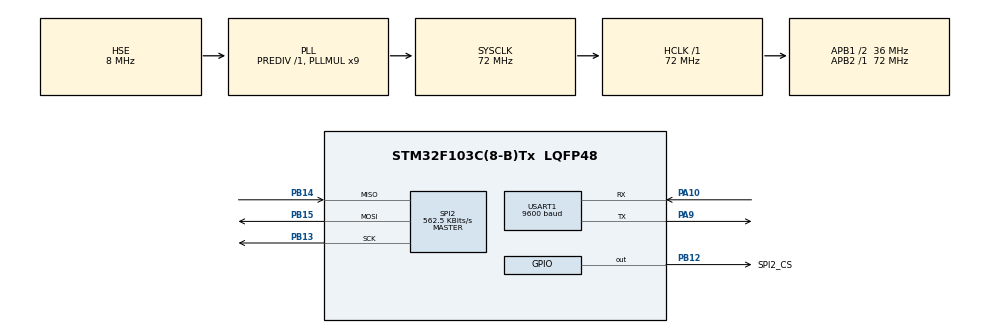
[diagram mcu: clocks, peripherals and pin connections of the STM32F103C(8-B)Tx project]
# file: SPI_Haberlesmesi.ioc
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Mcu.Family=STM32F1
Mcu.Name=STM32F103C(8-B)Tx
Mcu.Package=LQFP48
NVIC.PriorityGroup=NVIC_PRIORITYGROUP_4
PA10.Mode=Asynchronous
PA10.Signal=USART1_RX
PA13.Mode=Serial_Wire
PA13.Signal=SYS_JTMS-SWDIO
PA14.Mode=Serial_Wire
PA14.Signal=SYS_JTCK-SWCLK
PA9.Mode=Asynchronous
PA9.Signal=USART1_TX
PB12.GPIO_Label=SPI2_CS
PB12.Signal=GPIO_Output
PB13.Mode=Full_Duplex_Master
PB13.Signal=SPI2_SCK
PB14.Mode=Full_Duplex_Master
PB14.Signal=SPI2_MISO
PB15.Mode=Full_Duplex_Master
PB15.Signal=SPI2_MOSI
PD0-OSC_IN.Mode=HSE-External-Oscillator
PD0-OSC_IN.Signal=RCC_OSC_IN
PD1-OSC_OUT.Mode=HSE-External-Oscillator
PD1-OSC_OUT.Signal=RCC_OSC_OUT
ProjectManager.HeapSize=0x200
ProjectManager.StackSize=0x400
ProjectManager.TargetToolchain=STM32CubeIDE
RCC.AHBFreq_Value=72000000
RCC.APB1CLKDivider=RCC_HCLK_DIV2
RCC.APB1Freq_Value=36000000
RCC.APB1TimFreq_Value=72000000
RCC.APB2Freq_Value=72000000
RCC.APB2TimFreq_Value=72000000
RCC.HCLKFreq_Value=72000000
RCC.PLLMUL=RCC_PLL_MUL9
RCC.PLLSourceVirtual=RCC_PLLSOURCE_HSE
RCC.SYSCLKFreq_VALUE=72000000
RCC.SYSCLKSource=RCC_SYSCLKSOURCE_PLLCLK
RCC.USBFreq_Value=72000000
SPI2.BaudRatePrescaler=SPI_BAUDRATEPRESCALER_64
SPI2.CLKPolarity=SPI_POLARITY_HIGH
SPI2.CalculateBaudRate=562.5 KBits/s
SPI2.Direction=SPI_DIRECTION_2LINES
SPI2.Mode=SPI_MODE_MASTER
SPI2.VirtualType=VM_MASTER
USART1.BaudRate=9600
USART1.VirtualMode=VM_ASYNC
board=custom

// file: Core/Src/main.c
/* USER CODE BEGIN Header */
/**
  ******************************************************************************
  * @file           : main.c
  * @brief          : Main program body
  ******************************************************************************
  * @attention
  *
  * <h2><center>&copy; Copyright (c) 2022 STMicroelectronics.
  * All rights reserved.</center></h2>
  *
  * This software component is licensed by ST under BSD 3-Clause license,
  * the "License"; You may not use this file except in compliance with the
  * License. You may obtain a copy of the License at:
  *                        opensource.org/licenses/BSD-3-Clause
  *
  ******************************************************************************
  */
/* USER CODE END Header */
#include "main.h"

/* USER CODE BEGIN Includes */
#include "string.h"
/* USER CODE END Includes */

SPI_HandleTypeDef hspi2;

UART_HandleTypeDef huart1;

void SystemClock_Config(void);
static void MX_GPIO_Init(void);
static void MX_SPI2_Init(void);
static void MX_USART1_UART_Init(void);
/* USER CODE BEGIN PFP */
uint8_t uartTxBuffer[] = "SPI Haberlesmesi";
uint8_t aTxBuffer[]="Deneme Gonderimi";
uint8_t aRxBuffer[40];

/* USER CODE END PFP */

int main(void)
{

  /* MCU Configuration--------------------------------------------------------*/

  /* Reset of all peripherals, Initializes the Flash interface and the Systick. */
  HAL_Init();

  /* Configure the system clock */
  SystemClock_Config();

  /* Initialize all configured peripherals */
  MX_GPIO_Init();
  MX_SPI2_Init();
  MX_USART1_UART_Init();
  /* USER CODE BEGIN 2 */
  if(HAL_UART_Transmit(&huart1, (uint8_t*)uartTxBuffer, 40, 100)!= HAL_OK)
  {
    Error_Handler();
  }

  __HAL_SPI_ENABLE(&hspi2);

  if(HAL_SPI_TransmitReceive(&hspi2, (uint8_t*)aTxBuffer, (uint8_t *)aRxBuffer, 40,100) != HAL_OK)
    {
      Error_Handler();
    }

    while (HAL_SPI_GetState(&hspi2) != HAL_SPI_STATE_READY);
  /* USER CODE END 2 */

  /* Infinite loop */
  while (1)
  {

  }
}

void SystemClock_Config(void)
{
  RCC_OscInitTypeDef RCC_OscInitStruct = {0};
  RCC_ClkInitTypeDef RCC_ClkInitStruct = {0};

  /** Initializes the RCC Oscillators according to the specified parameters
  * in the RCC_OscInitTypeDef structure.
  */
  RCC_OscInitStruct.OscillatorType = RCC_OSCILLATORTYPE_HSE;
  RCC_OscInitStruct.HSEState = RCC_HSE_ON;
  RCC_OscInitStruct.HSEPredivValue = RCC_HSE_PREDIV_DIV1;
  RCC_OscInitStruct.HSIState = RCC_HSI_ON;
  RCC_OscInitStruct.PLL.PLLState = RCC_PLL_ON;
  RCC_OscInitStruct.PLL.PLLSource = RCC_PLLSOURCE_HSE;
  RCC_OscInitStruct.PLL.PLLMUL = RCC_PLL_MUL9;
  if (HAL_RCC_OscConfig(&RCC_OscInitStruct) != HAL_OK)
  {
    Error_Handler();
  }
  /** Initializes the CPU, AHB and APB buses clocks
  */
  RCC_ClkInitStruct.ClockType = RCC_CLOCKTYPE_HCLK|RCC_CLOCKTYPE_SYSCLK
                              |RCC_CLOCKTYPE_PCLK1|RCC_CLOCKTYPE_PCLK2;
  RCC_ClkInitStruct.SYSCLKSource = RCC_SYSCLKSOURCE_PLLCLK;
  RCC_ClkInitStruct.AHBCLKDivider = RCC_SYSCLK_DIV1;
  RCC_ClkInitStruct.APB1CLKDivider = RCC_HCLK_DIV2;
  RCC_ClkInitStruct.APB2CLKDivider = RCC_HCLK_DIV1;

  if (HAL_RCC_ClockConfig(&RCC_ClkInitStruct, FLASH_LATENCY_2) != HAL_OK)
  {
    Error_Handler();
  }
}

static void MX_SPI2_Init(void)
{

  /* SPI2 parameter configuration*/
  hspi2.Instance = SPI2;
  hspi2.Init.Mode = SPI_MODE_MASTER;
  hspi2.Init.Direction = SPI_DIRECTION_2LINES;
  hspi2.Init.DataSize = SPI_DATASIZE_8BIT;
  hspi2.Init.CLKPolarity = SPI_POLARITY_HIGH;
  hspi2.Init.CLKPhase = SPI_PHASE_1EDGE;
  hspi2.Init.NSS = SPI_NSS_SOFT;
  hspi2.Init.BaudRatePrescaler = SPI_BAUDRATEPRESCALER_64;
  hspi2.Init.FirstBit = SPI_FIRSTBIT_MSB;
  hspi2.Init.TIMode = SPI_TIMODE_DISABLE;
  hspi2.Init.CRCCalculation = SPI_CRCCALCULATION_DISABLE;
  hspi2.Init.CRCPolynomial = 10;
  if (HAL_SPI_Init(&hspi2) != HAL_OK)
  {
    Error_Handler();
  }

}

static void MX_USART1_UART_Init(void)
{

  huart1.Instance = USART1;
  huart1.Init.BaudRate = 9600;
  huart1.Init.WordLength = UART_WORDLENGTH_8B;
  huart1.Init.StopBits = UART_STOPBITS_1;
  huart1.Init.Parity = UART_PARITY_NONE;
  huart1.Init.Mode = UART_MODE_TX_RX;
  huart1.Init.HwFlowCtl = UART_HWCONTROL_NONE;
  huart1.Init.OverSampling = UART_OVERSAMPLING_16;
  if (HAL_UART_Init(&huart1) != HAL_OK)
  {
    Error_Handler();
  }

}

static void MX_GPIO_Init(void)
{
  GPIO_InitTypeDef GPIO_InitStruct = {0};

  /* GPIO Ports Clock Enable */
  __HAL_RCC_GPIOD_CLK_ENABLE();
  __HAL_RCC_GPIOB_CLK_ENABLE();
  __HAL_RCC_GPIOA_CLK_ENABLE();

  /*Configure GPIO pin Output Level */
  HAL_GPIO_WritePin(SPI2_CS_GPIO_Port, SPI2_CS_Pin, GPIO_PIN_RESET);

  /*Configure GPIO pin : SPI2_CS_Pin */
  GPIO_InitStruct.Pin = SPI2_CS_Pin;
  GPIO_InitStruct.Mode = GPIO_MODE_OUTPUT_PP;
  GPIO_InitStruct.Pull = GPIO_NOPULL;
  GPIO_InitStruct.Speed = GPIO_SPEED_FREQ_LOW;
  HAL_GPIO_Init(SPI2_CS_GPIO_Port, &GPIO_InitStruct);

}

/* USER CODE BEGIN 4 */
void HAL_SPI_TxRxCpltCallback(SPI_HandleTypeDef *hspi)
{
	  if(HAL_SPI_TransmitReceive(&hspi2, (uint8_t*)aTxBuffer, (uint8_t *)aRxBuffer, 40,100) != HAL_OK)
	  {
		Error_Handler();
	  }

	  while(HAL_UART_GetState(&huart1)!= HAL_UART_STATE_READY);
	  if(HAL_UART_Transmit(&huart1, (uint8_t*)aRxBuffer, 40, 100)!= HAL_OK)
	    {
		  Error_Handler();
		}
}
/* USER CODE END 4 */

void Error_Handler(void)
{
  __disable_irq();
  while (1)
  {
  }
}

/************************ (C) COPYRIGHT STMicroelectronics *****END OF FILE****/
